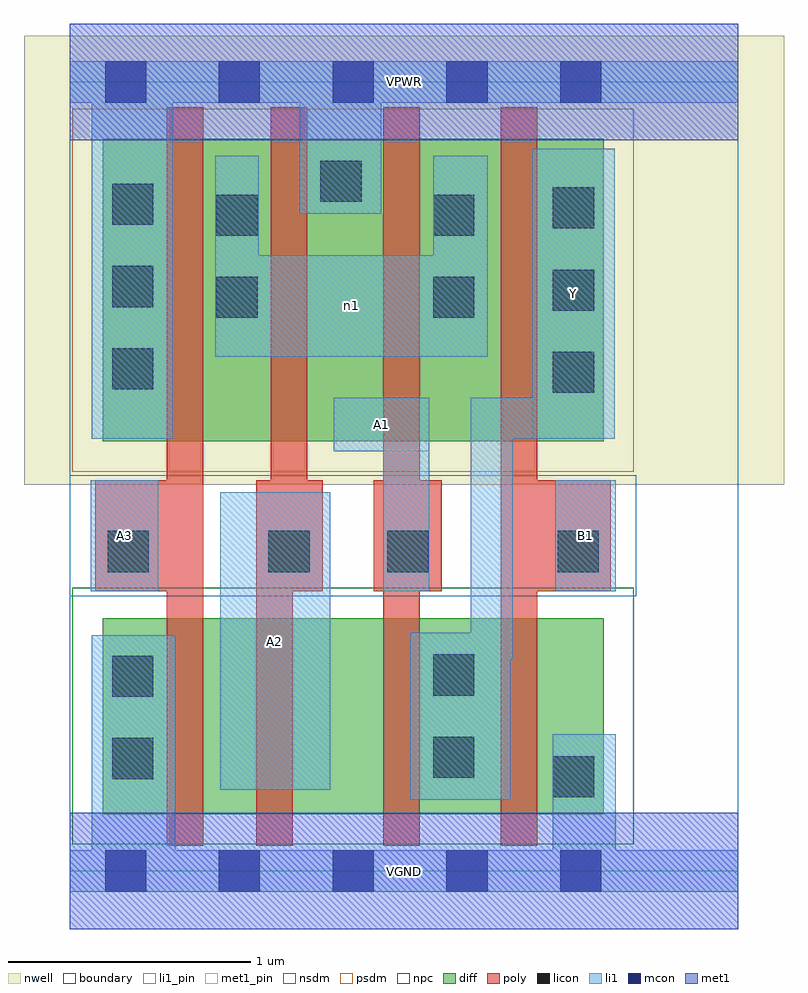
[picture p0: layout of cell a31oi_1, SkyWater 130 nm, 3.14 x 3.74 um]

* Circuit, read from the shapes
.subckt a31oi_1 A1 A2 A3 B1 VGND VPWR Y n1
XM1 n2 A3 VGND VSUBS sky130_fd_pr__nfet_01v8 w=0.81 l=0.15
XM2 n3 A2 n2 VSUBS sky130_fd_pr__nfet_01v8 w=0.81 l=0.15
XM3 Y A1 n3 VSUBS sky130_fd_pr__nfet_01v8 w=0.81 l=0.15
XM4 VGND B1 Y VSUBS sky130_fd_pr__nfet_01v8 w=0.81 l=0.15
XM5 n1 A3 VPWR n4 sky130_fd_pr__pfet_01v8 w=1.25 l=0.15
XM6 VPWR A2 n1 n4 sky130_fd_pr__pfet_01v8 w=1.25 l=0.15
XM7 n1 A1 VPWR n4 sky130_fd_pr__pfet_01v8 w=1.25 l=0.15
XM8 Y B1 n1 n4 sky130_fd_pr__pfet_01v8 w=1.25 l=0.15
.ends

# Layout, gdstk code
import gdstk
lib = gdstk.Library(unit=1e-6, precision=1e-09)
def R(c, l, rs):  # rectangles x0, y0, x1, y1
    for r in rs: c.add(gdstk.rectangle(r[:2], r[2:], *l))
def A(c, l, x, y, w, h, nx, ny, dx, dy):  # array of equal rectangles
    R(c, l, [(x+i*dx, y+j*dy, x+i*dx+w, y+j*dy+h) for i in range(nx) for j in range(ny)])
nwell = (64, 20)
diff = (65, 20)
poly = (66, 20)
licon = (66, 44)
li1_pin = (67, 16)
li1 = (67, 20)
mcon = (67, 44)
met1_pin = (68, 16)
met1 = (68, 20)
nsdm = (93, 44)
psdm = (94, 20)
npc = (95, 20)
boundary = (235, 4)

a31oi_1 = lib.new_cell('a31oi_1')
R(a31oi_1, nwell, [(-0.19,1.595,2.95,3.45), (0,1.595,2.76,3.45)])
R(a31oi_1, diff, [(0.135,0.235,2.205,1.045), (0.135,1.775,2.205,3.025)])
R(a31oi_1, poly, [(0.4,0.105,0.55,3.155), (0.77,0.105,0.92,1.615), (1.295,0.105,1.445,3.155), (1.78,0.105,1.93,3.155), (0.105,1.155,0.55,1.615), (0.77,1.155,1.045,1.615), (0.83,1.155,0.98,3.155), (1.255,1.155,1.535,1.615), (1.78,1.155,2.235,1.615)])
A(a31oi_1, licon, 1.995, 1.975, 0.17, 0.17, 1, 3, 0, 0.34)
A(a31oi_1, licon, 0.175, 1.99, 0.17, 0.17, 1, 3, 0, 0.34)
R(a31oi_1, licon, [(1.995,0.305,2.165,0.475), (0.175,0.38,0.345,0.55), (1.5,0.385,1.67,0.555), (0.175,0.72,0.345,0.89), (1.5,0.725,1.67,0.895), (0.155,1.235,0.325,1.405), (0.82,1.235,0.99,1.405), (1.31,1.235,1.48,1.405), (2.015,1.235,2.185,1.405), (0.605,2.285,0.775,2.455), (1.5,2.285,1.67,2.455), (0.605,2.625,0.775,2.795), (1.5,2.625,1.67,2.795), (1.035,2.765,1.205,2.935)])
R(a31oi_1, li1_pin, [(0.62,0.335,1.075,1.565), (0.085,1.155,0.365,1.615), (2.005,1.155,2.255,1.615), (1.09,1.735,1.485,1.955), (1.91,1.785,2.25,2.985)])
R(a31oi_1, li1, [(0,-0.085,2.76,0.085), (0.09,-0.085,0.435,0.975), (1.995,-0.085,2.255,0.565), (1.405,0.295,1.82,0.985), (0.62,0.335,1.075,1.565), (1.655,0.875,1.83,1.955), (0.085,1.155,0.365,1.615), (1.295,1.155,1.485,1.955), (2.005,1.155,2.255,1.615), (1.09,1.735,1.485,1.955), (0.09,1.785,0.425,3.345), (1.655,1.785,2.25,1.955), (1.91,1.785,2.25,2.985), (0.6,2.125,1.725,2.545), (0.6,2.125,0.78,2.955), (1.5,2.125,1.725,2.955), (0.95,2.715,1.285,3.345), (0,3.175,2.76,3.345)])
A(a31oi_1, mcon, 0.145, -0.085, 0.17, 0.17, 5, 2, 0.47, 3.26)
R(a31oi_1, met1_pin, [(0,-0.24,2.76,0.24), (0,3.02,2.76,3.5)])
R(a31oi_1, met1, [(0,-0.24,2.76,0.24), (0,3.02,2.76,3.5)])
R(a31oi_1, nsdm, [(0.01,0.11,2.33,1.17)])
R(a31oi_1, psdm, [(0.01,1.65,2.33,3.15)])
R(a31oi_1, npc, [(0,1.135,2.34,1.635)])
R(a31oi_1, boundary, [(0,0,2.76,3.26)])
a31oi_1.add(gdstk.Label('A1', (1.287,1.845), layer=67, texttype=5))
a31oi_1.add(gdstk.Label('A2', (0.847,0.95), layer=67, texttype=5))
a31oi_1.add(gdstk.Label('A3', (0.225,1.385), layer=67, texttype=5))
a31oi_1.add(gdstk.Label('B1', (2.13,1.385), layer=67, texttype=5))
a31oi_1.add(gdstk.Label('Y', (2.08,2.385), layer=67, texttype=5))
a31oi_1.add(gdstk.Label('n1', (1.162,2.335), layer=67, texttype=5))
a31oi_1.add(gdstk.Label('VPWR', (1.38,3.26), layer=68, texttype=5))
a31oi_1.add(gdstk.Label('VGND', (1.38,0), layer=68, texttype=5))
a31oi_1.add(gdstk.Label('A1', (1.287,1.845), layer=67, texttype=16))
a31oi_1.add(gdstk.Label('A2', (0.847,0.95), layer=67, texttype=16))
a31oi_1.add(gdstk.Label('A3', (0.225,1.385), layer=67, texttype=16))
a31oi_1.add(gdstk.Label('B1', (2.13,1.385), layer=67, texttype=16))
a31oi_1.add(gdstk.Label('Y', (2.08,2.385), layer=67, texttype=16))
a31oi_1.add(gdstk.Label('VPWR', (1.38,3.26), layer=68, texttype=16))
a31oi_1.add(gdstk.Label('VGND', (1.38,0), layer=68, texttype=16))

lib.write_gds('a31oi_1.gds')
